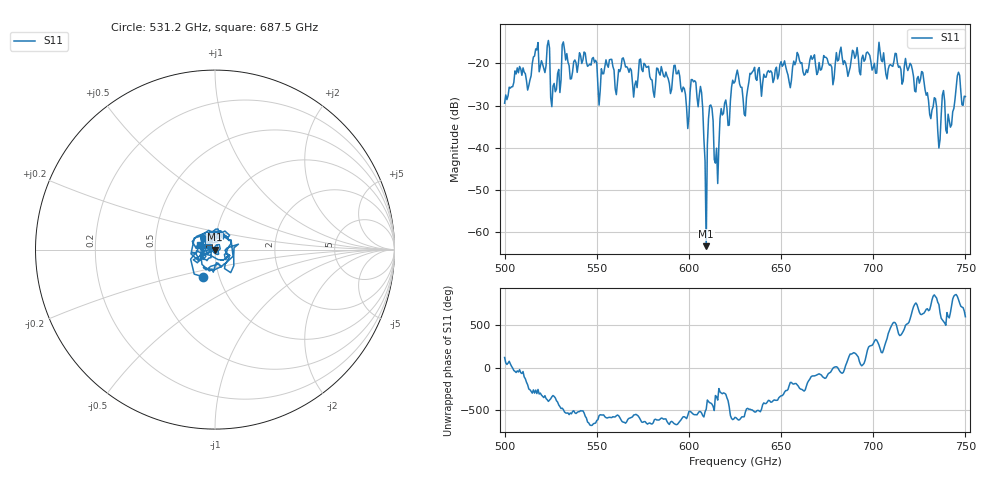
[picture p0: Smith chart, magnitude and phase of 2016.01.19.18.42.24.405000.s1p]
!Created with skrf (http://scikit-rf.org).
# GHz S RI R 50.0
!freq ReS11 ImS11
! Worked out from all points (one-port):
!   401 points, 500 GHz to 750 GHz, reference 50 ohm
!   lowest |S11| = -63.2 dB at 609.4 GHz (marker M1), VSWR 1.00, Z = 50 - j0.055 ohm
!   |S11| at or under -10 dB: start of sweep to end of sweep
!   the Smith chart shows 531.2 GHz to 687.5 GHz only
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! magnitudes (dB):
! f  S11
! 500 GHz  -29.4
! 506.9 GHz  -21.1
! 513.1 GHz  -25.3
! 516.9 GHz  -16.6
! 523.1 GHz  -15.9
! 526.2 GHz  -25.4
! 531.2 GHz  -15.6
! 551.9 GHz  -26.4
! 562.5 GHz  -22.0
! 593.8 GHz  -22.5
! 598.8 GHz  -30.6
! 602.5 GHz  -24.4
! 606.2 GHz  -25.5
! 609.4 GHz  -63.2
! 611.9 GHz  -29.9
! 615 GHz  -40.1
! 618.1 GHz  -32.2
! 625 GHz  -24.3
! 630.6 GHz  -32.4
! 634.4 GHz  -22.0
! 656.2 GHz  -20.9
! 687.5 GHz  -20.9
! 718.8 GHz  -21.7
! 735.6 GHz  -40.0
! 738.1 GHz  -26.4
! 742.5 GHz  -34.6
! 746.2 GHz  -22.1
! 750 GHz  -27.9
